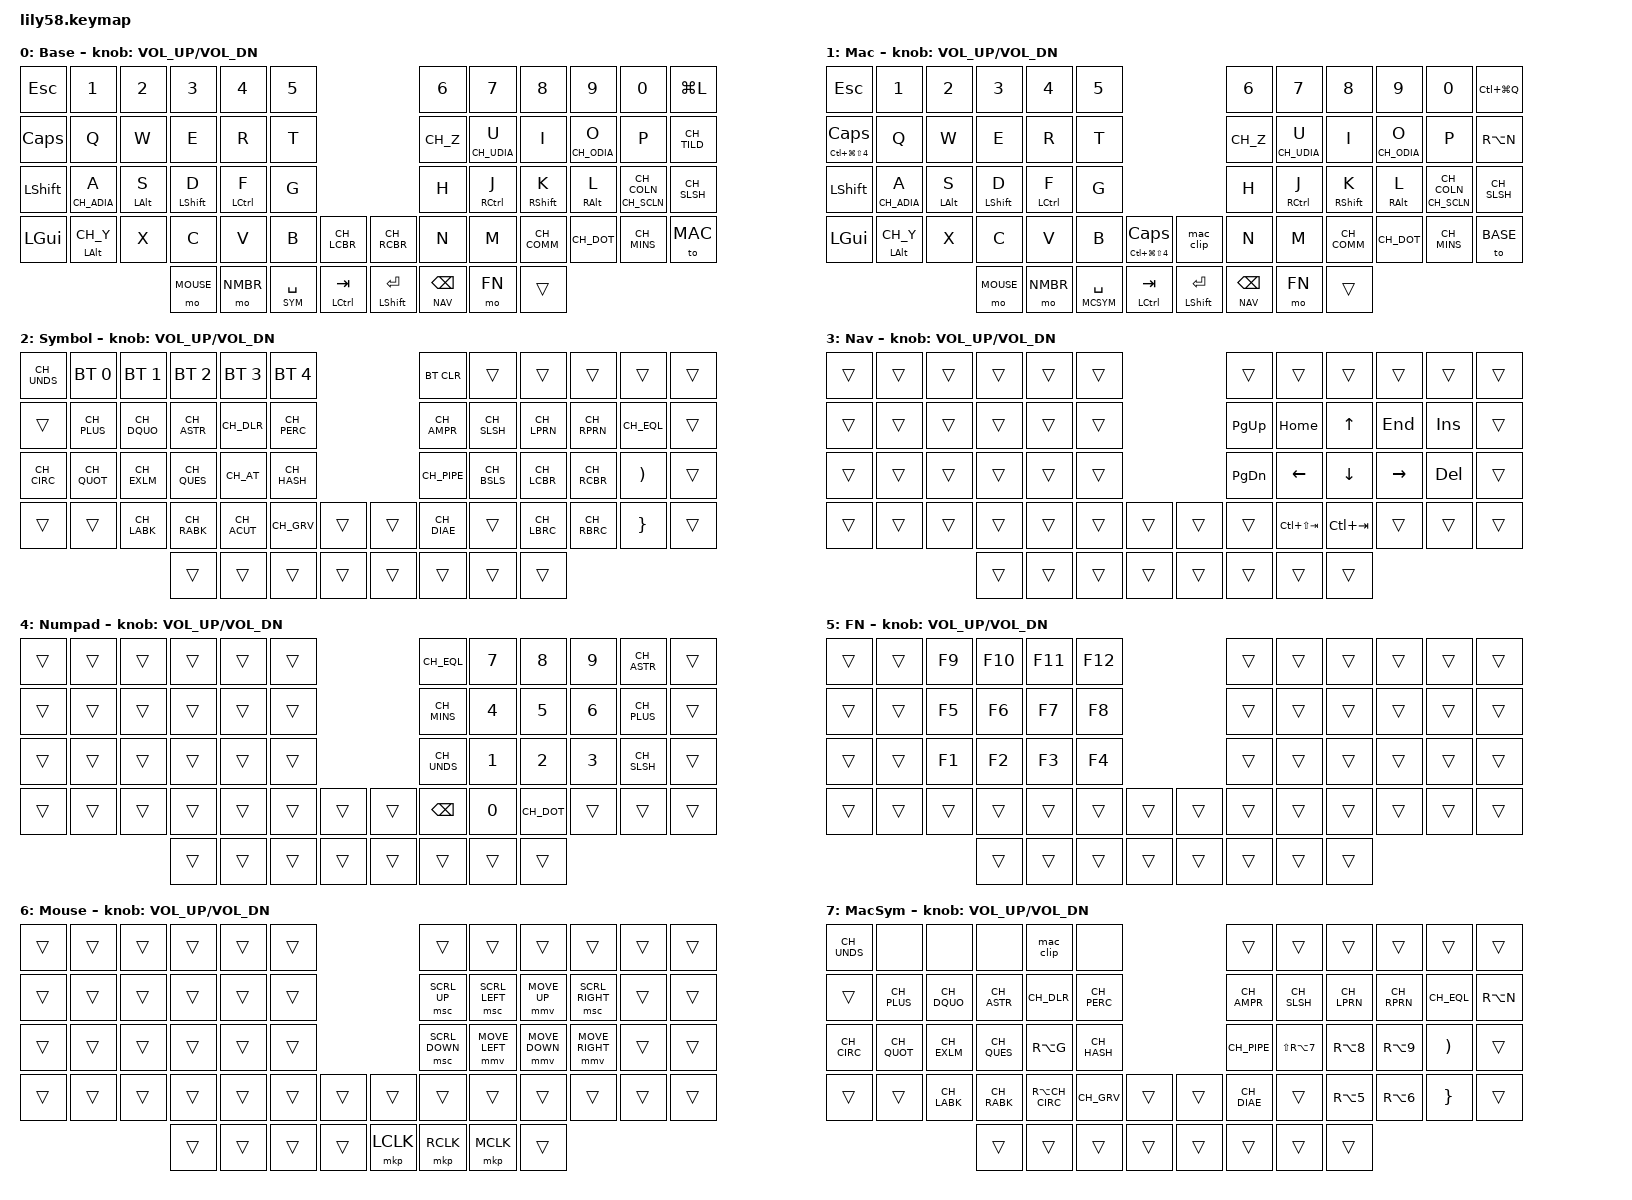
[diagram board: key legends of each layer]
/*
 * Copyright (c) 2020 The ZMK Contributors
 *
 * SPDX-License-Identifier: MIT
 */

#include <behaviors.dtsi>
#include <dt-bindings/zmk/keys.h>
#include <dt-bindings/zmk/bt.h>
#include <dt-bindings/zmk/ext_power.h>
// conversion of swiss keycodes
#include "keymap_swiss_de.h"
// custom hold-tap behavior definitions
#include "hold_tap_behaviors.dtsi"
// custom macros
#include "macros.dtsi"
// mouse emulation
#include <dt-bindings/zmk/pointing.h>

// custom layer names
#define BASE  0
#define MAC   1
#define SYM   2
#define NAV   3
#define NMBR  4
#define FN    5
#define MOUSE 6
#define MCSYM 7

// custom combinations
#define SYM_SPC &lt SYM SPACE // tap: space; hold: sym-layer
#define NAV_BSPC &lt NAV BSPC // tap: backspace; hold: nav-layer
#define CTL_TAB &ht LCTRL TAB // tap: tab; hold: left-ctrl
#define SFT_RET &ht LSHFT RET // tap: return; hold: left-shift
#define WIN_L &kp LG(L)
#define NEXT_TB &kp LC(TAB)
#define PREV_TB &kp LC(LS(TAB))
#define ALT_Y &ht LALT CH_Y

// custom combinations mac
#define MAC_LOC &kp LC(LG(Q)) // tap: lock Mac
#define MAC_LAY &to MAC  // tap: lock Mac
#define BAS_LAY &to BASE // tap: lock Mac
#define MAC_SYM &lt MCSYM SPACE // tap: space; hold: mac-sym-layer
#define MAC_TLD &kp RA(N)
#define MAC_AT  &kp RA(G)
#define MAC_AIG &kp RA(CH_CIRC)
#define MAC_BSL &kp LS(RA(N7))
#define MAC_LCB &kp RA(N8)
#define MAC_RCB &kp RA(N9)
#define MAC_LBR &kp RA(N5)
#define MAC_RBR &kp RA(N6)
#define HT_PRNT &ht LC(LG(LS(N4))) CAPS

// custom hold-taps for "umlaute" and others
#define HT_A &ht CH_ADIA A
#define HT_O &ht CH_ODIA O
#define HT_U &ht CH_UDIA U
#define HT_COLN &ht CH_SCLN CH_COLN

// home row mods
// left home row
#define HR_LALT &ht LALT S // tap: S; hold: left-alt
#define HR_LSHFT &ht LSHFT D // tap: D; hold: left-shift
#define HR_LCTRL &ht LCTRL F // tap F; hold: left-ctrl
// right home row
#define HR_RALT &ht RALT L // tap: L; hold: right-alt
#define HR_RSHFT &ht RSHFT K // tap: K; hold: right-shift
#define HR_RCTRL &ht RCTRL J // tap J; hold: right-ctrl

/ {
    keymap {
        compatible = "zmk,keymap";

        default_layer {
// -------------------------------------------------------------------------------------------------------------
// |  ESC  |  1  |  2  |  3   |  4   |  5   |                   |  6    |  7    |  8    |  9   |   0   | WIN_L |
// |  CAPS |  Q  |  W  |  E   |  R   |  T   |                   |  Z    |  U    |  I    |  O   |   P   |   ~   |
// |  SHFT |  A  |  S  |  D   |  F   |  G   |                   |  H    |  J    |  K    |  L   |  :/;  |   /   |
// |  GUI  |ALT/Y|  X  |  C   |  V   |  B   |   "{"  |  |  "}"  |  N    |  M    |  ,    |  .   |   -   |       |
//                     |  L5  |  L3  |SPC/L1| CTL/TAB|  |SFT/RET|BSPC/L2|  L4   |       |
            display-name = "Base";
            bindings = <
&kp ESC   &kp N1 &kp N2  &kp N3    &kp N4   &kp N5                          &kp N6    &kp N7   &kp N8      &kp N9     &kp N0      WIN_L
&kp CAPS  &kp Q  &kp W   &kp E     &kp R    &kp T                           &kp CH_Z  HT_U     &kp I       HT_O       &kp P       &kp CH_TILD
&kp LSHFT HT_A   HR_LALT HR_LSHFT  HR_LCTRL &kp G                           &kp H     HR_RCTRL HR_RSHFT    HR_RALT    HT_COLN     &kp CH_SLSH
&kp LGUI  ALT_Y  &kp X   &kp C     &kp V    &kp B   &kp CH_LCBR &kp CH_RCBR &kp N     &kp M    &kp CH_COMM &kp CH_DOT &kp CH_MINS MAC_LAY
                         &mo MOUSE &mo NMBR SYM_SPC CTL_TAB     SFT_RET     NAV_BSPC  &mo FN   &trans
            >;

            sensor-bindings = <&inc_dec_kp C_VOL_UP C_VOL_DN>;
        };

        extra_4 {
// -------------------------------------------------------------------------------------------------------------
// |  ESC  |  1  |  2  |  3   |  4   |  5   |                   |  6    |  7    |  8    |  9   |   0   | MAC_L |
// |  CAPS |  Q  |  W  |  E   |  R   |  T   |                   |  Z    |  U    |  I    |  O   |   P   |   ~   |
// |  SHFT |  A  |  S  |  D   |  F   |  G   |                   |  H    |  J    |  K    |  L   |  :/;  |   /   |
// |  GUI  |ALT/Y|  X  |  C   |  V   |  B   |   "{"  |  |  "}"  |  N    |  M    |  ,    |  .   |   -   |       |
//                     |  L5  |  L3  |SPC/L7| CTL/TAB|  |SFT/RET|BSPC/L2|  L4   |       |
            display-name = "Mac";
            bindings = <
&kp ESC   &kp N1 &kp N2  &kp N3    &kp N4   &kp N5                          &kp N6    &kp N7   &kp N8      &kp N9     &kp N0      MAC_LOC
HT_PRNT   &kp Q  &kp W   &kp E     &kp R    &kp T                           &kp CH_Z  HT_U     &kp I       HT_O       &kp P       MAC_TLD
&kp LSHFT HT_A   HR_LALT HR_LSHFT  HR_LCTRL &kp G                           &kp H     HR_RCTRL HR_RSHFT    HR_RALT    HT_COLN     &kp CH_SLSH
&kp LGUI  ALT_Y  &kp X   &kp C     &kp V    &kp B   HT_PRNT     &mac_clip   &kp N     &kp M    &kp CH_COMM &kp CH_DOT &kp CH_MINS BAS_LAY
                         &mo MOUSE &mo NMBR MAC_SYM CTL_TAB     SFT_RET     NAV_BSPC  &mo FN   &trans
            >;

            sensor-bindings = <&inc_dec_kp C_VOL_UP C_VOL_DN>;
        };

        lower_layer {
// ---------------------------------------------------------------------------------------------
// |  _  | BT1 | BT2 | BT3 | BT4 | BT5 |                   |BTCLR|     |     |     |     |     |
// |     |  +  |  "  |  *  |  $  |  %  |                   |  &  |  /  |  (  |  )  |  =  |     |
// |  ^  |  '  |  !  |  ?  |  @  |  #  |                   |  |  |  \  |  {  |  }  |     |     |
// |     |     |  <  |  >  |  ´  |  `  |        |  |       |  ¨  |     |  [  |  ]  |     |     |
//                   |     |     |     |        |  |       |     |     |     |
            display-name = "Symbol";
            bindings = <
&kp CH_UNDS &bt BT_SEL 0 &bt BT_SEL 1 &bt BT_SEL 2 &bt BT_SEL 3 &bt BT_SEL 4                    &bt BT_CLR  &trans      &trans      &trans      &trans     &trans
&trans      &kp CH_PLUS  &kp CH_DQUO  &kp CH_ASTR  &kp CH_DLR   &kp CH_PERC                     &kp CH_AMPR &kp CH_SLSH &kp CH_LPRN &kp CH_RPRN &kp CH_EQL &trans
&kp CH_CIRC &kp CH_QUOT  &kp CH_EXLM  &kp CH_QUES  &kp CH_AT    &kp CH_HASH                     &kp CH_PIPE &kp CH_BSLS &kp CH_LCBR &kp CH_RCBR &kp RPAR   &trans
&trans      &trans       &kp CH_LABK  &kp CH_RABK  &kp CH_ACUT  &kp CH_GRV   &trans   &trans    &kp CH_DIAE &trans      &kp CH_LBRC &kp CH_RBRC &kp RBRC   &trans
                                      &trans       &trans       &trans       &trans   &trans    &trans      &trans      &trans
            >;

            sensor-bindings = <&inc_dec_kp C_VOL_UP C_VOL_DN>;
        };

        raise_layer {
// ------------------------------------------------------------------------------------------------------------
// |       |     |     |      |      |      |                   |      |       |       |      |       |       |
// |       |     |     |      |      |      |                   | PGUP |  HOME |   ^   |  END |  INS  |       |
// |       |     |     |      |      |      |                   | PGDN |  <-   |   v   |  ->  |  DEL  |       |
// |       |     |     |      |      |      |        |  |       |      |PREV_TB|NEXT_TB|      |       |       |
//                     |      |      |      |        |  |       |      |       |       |
            display-name = "Nav";
            bindings = <
&trans &trans &trans &trans &trans &trans                       &trans    &trans   &trans   &trans    &trans  &trans
&trans &trans &trans &trans &trans &trans                       &kp PG_UP &kp HOME &kp UP   &kp END   &kp INS &trans
&trans &trans &trans &trans &trans &trans                       &kp PG_DN &kp LEFT &kp DOWN &kp RIGHT &kp DEL &trans
&trans &trans &trans &trans &trans &trans    &trans   &trans    &trans    PREV_TB  NEXT_TB  &trans    &trans  &trans
                     &trans &trans &trans    &trans   &trans    &trans    &trans   &trans
            >;

            sensor-bindings = <&inc_dec_kp C_VOL_UP C_VOL_DN>;
        };

        extra_1 {
// ------------------------------------------------------------------------------------------------------------
// |       |     |     |      |      |      |                   |  =   |   7   |   8   |  9   |   *   |       |
// |       |     |     |      |      |      |                   |  -   |   4   |   5   |  6   |   +   |       |
// |       |     |     |      |      |      |                   |  _   |   1   |   2   |  3   |   /   |       |
// |       |     |     |      |      |      |        |  |       | BSPC |   0   |   .   |      |       |       |
//                     |      |      |      |        |  |       |      |       |       |
            display-name = "Numpad";
            bindings = <
&trans &trans &trans &trans &trans &trans                       &kp CH_EQL  &kp N7 &kp N8     &kp N9 &kp CH_ASTR &trans
&trans &trans &trans &trans &trans &trans                       &kp CH_MINS &kp N4 &kp N5     &kp N6 &kp CH_PLUS &trans
&trans &trans &trans &trans &trans &trans                       &kp CH_UNDS &kp N1 &kp N2     &kp N3 &kp CH_SLSH &trans
&trans &trans &trans &trans &trans &trans    &trans   &trans    &kp BSPC    &kp N0 &kp CH_DOT &trans &trans      &trans
                     &trans &trans &trans    &trans   &trans    &trans      &trans &trans
            >;

            sensor-bindings = <&inc_dec_kp C_VOL_UP C_VOL_DN>;
        };

        extra_2 {
// ------------------------------------------------------------------------------------------------------------
// |       |     |  F9 |  F10 |  F11 |  F12 |                   |      |       |       |      |       |       |
// |       |     |  F5 |  F6  |  F7  |  F8  |                   |      |       |       |      |       |       |
// |       |     |  F1 |  F2  |  F3  |  F4  |                   |      |       |       |      |       |       |
// |       |     |     |      |      |      |        |  |       |      |       |       |      |       |       |
//                     |      |      |      |        |  |       |      |       |       |
            display-name = "FN";
            bindings = <
&trans &trans &kp F9 &kp F10 &kp F11 &kp F12                      &trans &trans &trans &trans &trans &trans
&trans &trans &kp F5 &kp F6  &kp F7  &kp F8                       &trans &trans &trans &trans &trans &trans
&trans &trans &kp F1 &kp F2  &kp F3  &kp F4                       &trans &trans &trans &trans &trans &trans
&trans &trans &trans &trans  &trans  &trans    &trans   &trans    &trans &trans &trans &trans &trans &trans
                     &trans  &trans  &trans    &trans   &trans    &trans &trans &trans
            >;

            sensor-bindings = <&inc_dec_kp C_VOL_UP C_VOL_DN>;
        };

        extra_3 {
// ------------------------------------------------------------------------------------------------------------------------
// |       |     |     |      |      |      |                    |         |         |         |          |       |       |
// |       |     |     |      |      |      |                    | SCRL UP |SCRL LEFT| PNTR UP |SCRL RIGHT|       |       |
// |       |     |     |      |      |      |                    |SCRL DOWN|PNTR LEFT|PNTR DOWN|PNTR RIGHT|       |       |
// |       |     |     |      |      |      |        |  |        |         |         |         |          |       |       |
//                     |      |      |      |        |  |LEFT CLK|RIGHT CLK| MDL CLK |         |
            display-name = "Mouse";
            bindings = <
&trans &trans &trans &trans &trans &trans                    &trans         &trans          &trans         &trans          &trans &trans
&trans &trans &trans &trans &trans &trans                    &msc SCRL_UP   &msc SCRL_LEFT  &mmv MOVE_UP   &msc SCRL_RIGHT &trans &trans
&trans &trans &trans &trans &trans &trans                    &msc SCRL_DOWN &mmv MOVE_LEFT  &mmv MOVE_DOWN &mmv MOVE_RIGHT &trans &trans
&trans &trans &trans &trans &trans &trans &trans   &trans    &trans         &trans          &trans         &trans          &trans &trans
                     &trans &trans &trans &trans   &mkp LCLK &mkp RCLK      &mkp MCLK       &trans
            >;

            sensor-bindings = <&inc_dec_kp C_VOL_UP C_VOL_DN>;
        };

        extra_5 {
// ---------------------------------------------------------------------------------------------
// |  _  |     |     |     |     |     |                   |     |     |     |     |     |     |
// |     |  +  |  "  |  *  |  $  |  %  |                   |  &  |  /  |  (  |  )  |  =  |  ~  |
// |  ^  |  '  |  !  |  ?  |  @  |  #  |                   |  |  |  \  |  {  |  }  |     |     |
// |     |     |  <  |  >  |  ´  |  `  |        |  |       |  ¨  |     |  [  |  ]  |     |     |
//                   |     |     |     |        |  |       |     |     |     |
            display-name = "MacSym";
            bindings = <
&kp CH_UNDS &none        &none        &none        &mac_clip    &none                           &trans      &trans      &trans      &trans      &trans     &trans
&trans      &kp CH_PLUS  &kp CH_DQUO  &kp CH_ASTR  &kp CH_DLR   &kp CH_PERC                     &kp CH_AMPR &kp CH_SLSH &kp CH_LPRN &kp CH_RPRN &kp CH_EQL MAC_TLD
&kp CH_CIRC &kp CH_QUOT  &kp CH_EXLM  &kp CH_QUES  MAC_AT       &kp CH_HASH                     &kp CH_PIPE MAC_BSL     MAC_LCB     MAC_RCB     &kp RPAR   &trans
&trans      &trans       &kp CH_LABK  &kp CH_RABK  MAC_AIG      &kp CH_GRV   &trans   &trans    &kp CH_DIAE &trans      MAC_LBR     MAC_RBR     &kp RBRC   &trans
                                      &trans       &trans       &trans       &trans   &trans    &trans      &trans      &trans
            >;

            sensor-bindings = <&inc_dec_kp C_VOL_UP C_VOL_DN>;
        };

    };
};
